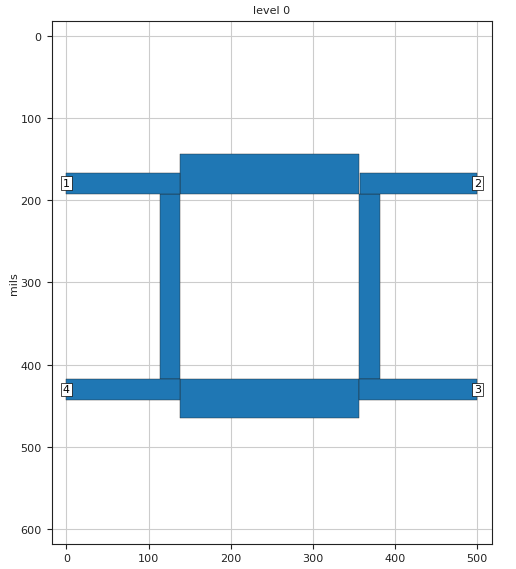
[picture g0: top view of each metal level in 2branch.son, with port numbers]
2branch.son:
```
FTYP SONPROJ 5 ! Sonnet Project File
VER 12.56
HEADER
LIC sonnet9.aa.99999
DAT 08/20/2010 11:31:17
BUILT_BY_CREATED example 12.56 11/23/2009 22:31:05
BUILT_BY_SAVED xgeom 12.56
MDATE 08/20/2010 11:31:17
HDATE 08/20/2010 11:29:12
END HEADER
DIM
FREQ GHZ
IND NH
LNG mils
ANG DEG
CON /OH
CAP PF
RES OH
END DIM
FREQ
SIMPLE 4.0 5.5 0.1
ABS 4.0 5.5 
STEP 5.0
END FREQ
CONTROL
STD
OPTIONS  -dj 
SPEED 0
CACHE_ABS 1
TARG_ABS 300
Q_ACC N
END CONTROL
GEO
TMET "Lossless" 0 SUP 0 0 0 0
BMET "Lossless" 0 SUP 0 0 0 0
BOX 1 500 600 1000 1200 20 0
      100 1 1 0 0 0 2 "Air"
      25 9.8 1 0 0 0 2 "Alumina"
POR1 STD
POLY 12 1
1
2 50 0 0 0 500 179.25 
POR1 STD
POLY 14 1
1
3 50 0 0 0 500 430.25 
POR1 STD
POLY 16 1
3
4 50 0 0 0 0 430.25 
POR1 STD
POLY 18 1
3
1 50 0 0 0 0 179.25 
NUM 8
0 5 -1 N 8 1 1 100 100 0 0 0 Y
138.5 144.5
356.5 144.5
356.5 192
138.5 192
138.5 144.5
END
0 5 -1 N 9 1 1 100 100 0 0 0 Y
138.5 417.5
356.5 417.5
356.5 465.5
138.5 465.5
138.5 417.5
END
0 5 -1 N 10 1 1 100 100 0 0 0 Y
113.5 192
138.5 192
138.5 417.5
113.5 417.5
113.5 192
END
0 5 -1 N 11 1 1 100 100 0 0 0 Y
356.5 192
382 192
382 417.5
356.5 417.5
356.5 192
END
0 5 -1 N 12 1 1 100 100 0 0 0 Y
357 166.5
500 166.5
500 192
357 192
357 166.5
END
0 5 -1 N 14 1 1 100 100 0 0 0 Y
356.5 417.5
500 417.5
500 443
356.5 443
356.5 417.5
END
0 5 -1 N 16 1 1 100 100 0 0 0 Y
0 417.5
138.5 417.5
138.5 443
0 443
0 417.5
END
0 5 -1 N 18 1 1 100 100 0 0 0 Y
0 166.5
138.5 166.5
138.5 192
0 192
0 166.5
END
END GEO
OPT
MAX 100
VARS
END OPT
VARSWP
END VARSWP
```
